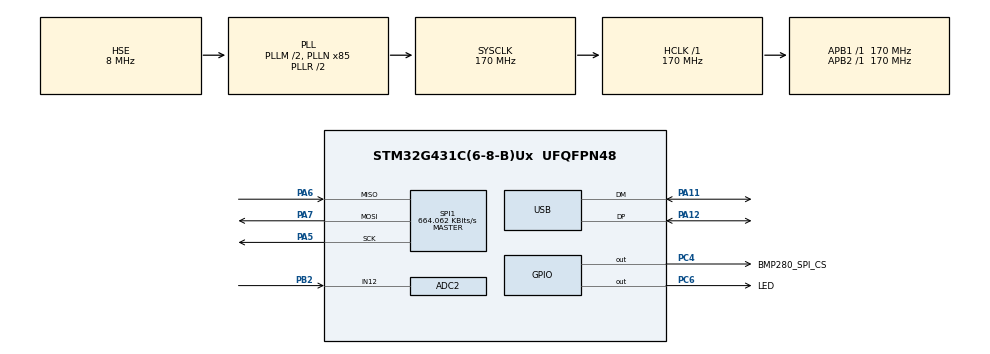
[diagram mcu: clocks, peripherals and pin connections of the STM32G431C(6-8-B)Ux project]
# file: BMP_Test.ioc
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ADC2.Channel-0\#ChannelRegularConversion=ADC_CHANNEL_12
ADC2.ContinuousConvMode=ENABLE
ADC2.DMAContinuousRequests=ENABLE
ADC2.NbrOfConversionFlag=1
ADC2.OffsetNumber-0\#ChannelRegularConversion=ADC_OFFSET_NONE
ADC2.Rank-0\#ChannelRegularConversion=1
ADC2.SamplingTime-0\#ChannelRegularConversion=ADC_SAMPLETIME_640CYCLES_5
Dma.ADC2.0.Direction=DMA_PERIPH_TO_MEMORY
Dma.ADC2.0.EventEnable=DISABLE
Dma.ADC2.0.Instance=DMA1_Channel1
Dma.ADC2.0.MemDataAlignment=DMA_MDATAALIGN_HALFWORD
Dma.ADC2.0.MemInc=DMA_MINC_ENABLE
Dma.ADC2.0.Mode=DMA_CIRCULAR
Dma.ADC2.0.PeriphDataAlignment=DMA_PDATAALIGN_HALFWORD
Dma.ADC2.0.PeriphInc=DMA_PINC_DISABLE
Dma.ADC2.0.Polarity=HAL_DMAMUX_REQ_GEN_RISING
Dma.ADC2.0.Priority=DMA_PRIORITY_LOW
Dma.ADC2.0.RequestNumber=1
Dma.ADC2.0.SignalID=NONE
Dma.ADC2.0.SyncEnable=DISABLE
Dma.ADC2.0.SyncPolarity=HAL_DMAMUX_SYNC_NO_EVENT
Dma.ADC2.0.SyncRequestNumber=1
Dma.ADC2.0.SyncSignalID=NONE
Dma.Request0=ADC2
FREERTOS.Tasks01=defaultTask,0,512,StartDefaultTask,Default,NULL,Dynamic,NULL,NULL
FREERTOS.configTOTAL_HEAP_SIZE=10240
Mcu.Family=STM32G4
Mcu.Name=STM32G431C(6-8-B)Ux
Mcu.Package=UFQFPN48
NVIC.DMA1_Channel1_IRQn=true\:5\:0\:false\:false\:true\:true\:false\:true\:true
NVIC.PriorityGroup=NVIC_PRIORITYGROUP_4
NVIC.TIM1_TRG_COM_TIM17_IRQn=true\:15\:0\:false\:false\:true\:false\:false\:true\:true
NVIC.TimeBase=TIM1_TRG_COM_TIM17_IRQn
NVIC.TimeBaseIP=TIM17
NVIC.USB_LP_IRQn=true\:5\:0\:false\:false\:true\:true\:false\:true\:true
PA11.Mode=Device
PA11.Signal=USB_DM
PA12.Mode=Device
PA12.Signal=USB_DP
PA13.Mode=Serial_Wire
PA13.Signal=SYS_JTMS-SWDIO
PA14.Mode=Serial_Wire
PA14.Signal=SYS_JTCK-SWCLK
PA5.Mode=Full_Duplex_Master
PA5.Signal=SPI1_SCK
PA6.Mode=Full_Duplex_Master
PA6.Signal=SPI1_MISO
PA7.Mode=Full_Duplex_Master
PA7.Signal=SPI1_MOSI
PB2.Mode=IN12-Single-Ended
PB2.Signal=ADC2_IN12
PC4.GPIO_Label=BMP280_SPI_CS
PC4.GPIO_ModeDefaultOutputPP=GPIO_MODE_OUTPUT_PP
PC4.GPIO_PuPd=GPIO_PULLUP
PC4.GPIO_Speed=GPIO_SPEED_FREQ_VERY_HIGH
PC4.PinState=GPIO_PIN_SET
PC4.Signal=GPIO_Output
PC6.GPIO_Label=LED
PC6.GPIO_PuPd=GPIO_PULLDOWN
PC6.GPIO_Speed=GPIO_SPEED_FREQ_LOW
PC6.PinState=GPIO_PIN_RESET
PC6.Signal=GPIO_Output
PF0-OSC_IN.Mode=HSE-External-Oscillator
PF0-OSC_IN.Signal=RCC_OSC_IN
PF1-OSC_OUT.Mode=HSE-External-Oscillator
PF1-OSC_OUT.Signal=RCC_OSC_OUT
ProjectManager.HeapSize=0x100
ProjectManager.StackSize=0xA00
ProjectManager.TargetToolchain=MDK-ARM V5.32
RCC.ADC12Freq_Value=170000000
RCC.AHBFreq_Value=170000000
RCC.APB1Freq_Value=170000000
RCC.APB1TimFreq_Value=170000000
RCC.APB2Freq_Value=170000000
RCC.APB2TimFreq_Value=170000000
RCC.CK48CLockSelection=RCC_USBCLKSOURCE_HSI48
RCC.CortexFreq_Value=170000000
RCC.EXTERNAL_CLOCK_VALUE=12288000
RCC.HCLKFreq_Value=170000000
RCC.HSE_VALUE=8000000
RCC.HSI48_VALUE=48000000
RCC.HSI_VALUE=16000000
RCC.LSE_VALUE=32768
RCC.PLLM=RCC_PLLM_DIV2
RCC.PLLN=85
RCC.PLLSourceVirtual=RCC_PLLSOURCE_HSE
RCC.SYSCLKFreq_VALUE=170000000
RCC.SYSCLKSource=RCC_SYSCLKSOURCE_PLLCLK
RCC.USBFreq_Value=48000000
RCC.VCOOutputFreq_Value=340000000
SPI1.BaudRatePrescaler=SPI_BAUDRATEPRESCALER_256
SPI1.CalculateBaudRate=664.062 KBits/s
SPI1.DataSize=SPI_DATASIZE_8BIT
SPI1.Direction=SPI_DIRECTION_2LINES
SPI1.Mode=SPI_MODE_MASTER
SPI1.VirtualType=VM_MASTER
USB_DEVICE.CLASS_NAME_FS=CDC
USB_DEVICE.VirtualMode=Cdc
USB_DEVICE.VirtualModeFS=Cdc_FS
VP_FREERTOS_VS_CMSIS_V1.Mode=CMSIS_V1
VP_SYS_VS_DBSignals.Mode=DisableDeadBatterySignals
VP_SYS_VS_tim17.Mode=TIM17
VP_USB_DEVICE_VS_USB_DEVICE_CDC_FS.Mode=CDC_FS
board=custom

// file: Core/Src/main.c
/* USER CODE BEGIN Header */
/**
  ******************************************************************************
  * @file           : main.c
  * @brief          : Main program body
  ******************************************************************************
  * @attention
  *
  * Copyright (c) 2025 STMicroelectronics.
  * All rights reserved.
  *
  * This software is licensed under terms that can be found in the LICENSE file
  * in the root directory of this software component.
  * If no LICENSE file comes with this software, it is provided AS-IS.
  *
  ******************************************************************************
  */
/* USER CODE END Header */
#include "main.h"
#include "cmsis_os.h"
#include "adc.h"
#include "dma.h"
#include "spi.h"
#include "usb_device.h"
#include "gpio.h"

void SystemClock_Config(void);
void MX_FREERTOS_Init(void);

int main(void)
{

  /* MCU Configuration--------------------------------------------------------*/

  /* Reset of all peripherals, Initializes the Flash interface and the Systick. */
  HAL_Init();

  /* Configure the system clock */
  SystemClock_Config();

  /* Initialize all configured peripherals */
  MX_GPIO_Init();
  MX_DMA_Init();
  MX_USB_Device_Init();
  MX_ADC2_Init();
  MX_SPI1_Init();

  /* Call init function for freertos objects (in freertos.c) */
  MX_FREERTOS_Init();

  /* Start scheduler */
  osKernelStart();

  /* We should never get here as control is now taken by the scheduler */
  /* Infinite loop */
  while (1)
  {

  }
}

void SystemClock_Config(void)
{
  RCC_OscInitTypeDef RCC_OscInitStruct = {0};
  RCC_ClkInitTypeDef RCC_ClkInitStruct = {0};

  /** Configure the main internal regulator output voltage
  */
  HAL_PWREx_ControlVoltageScaling(PWR_REGULATOR_VOLTAGE_SCALE1_BOOST);

  /** Initializes the RCC Oscillators according to the specified parameters
  * in the RCC_OscInitTypeDef structure.
  */
  RCC_OscInitStruct.OscillatorType = RCC_OSCILLATORTYPE_HSI48|RCC_OSCILLATORTYPE_HSE;
  RCC_OscInitStruct.HSEState = RCC_HSE_ON;
  RCC_OscInitStruct.HSI48State = RCC_HSI48_ON;
  RCC_OscInitStruct.PLL.PLLState = RCC_PLL_ON;
  RCC_OscInitStruct.PLL.PLLSource = RCC_PLLSOURCE_HSE;
  RCC_OscInitStruct.PLL.PLLM = RCC_PLLM_DIV2;
  RCC_OscInitStruct.PLL.PLLN = 85;
  RCC_OscInitStruct.PLL.PLLP = RCC_PLLP_DIV2;
  RCC_OscInitStruct.PLL.PLLQ = RCC_PLLQ_DIV2;
  RCC_OscInitStruct.PLL.PLLR = RCC_PLLR_DIV2;
  if (HAL_RCC_OscConfig(&RCC_OscInitStruct) != HAL_OK)
  {
    Error_Handler();
  }

  /** Initializes the CPU, AHB and APB buses clocks
  */
  RCC_ClkInitStruct.ClockType = RCC_CLOCKTYPE_HCLK|RCC_CLOCKTYPE_SYSCLK
                              |RCC_CLOCKTYPE_PCLK1|RCC_CLOCKTYPE_PCLK2;
  RCC_ClkInitStruct.SYSCLKSource = RCC_SYSCLKSOURCE_PLLCLK;
  RCC_ClkInitStruct.AHBCLKDivider = RCC_SYSCLK_DIV1;
  RCC_ClkInitStruct.APB1CLKDivider = RCC_HCLK_DIV1;
  RCC_ClkInitStruct.APB2CLKDivider = RCC_HCLK_DIV1;

  if (HAL_RCC_ClockConfig(&RCC_ClkInitStruct, FLASH_LATENCY_4) != HAL_OK)
  {
    Error_Handler();
  }
}

void HAL_TIM_PeriodElapsedCallback(TIM_HandleTypeDef *htim)
{
  if (htim->Instance == TIM17) {
    HAL_IncTick();
  }
}

void Error_Handler(void)
{
  __disable_irq();
  while (1)
  {
  }
}

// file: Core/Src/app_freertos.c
/* USER CODE BEGIN Header */
/**
  ******************************************************************************
  * File Name          : app_freertos.c
  * Description        : Code for freertos applications
  ******************************************************************************
  * @attention
  *
  * Copyright (c) 2025 STMicroelectronics.
  * All rights reserved.
  *
  * This software is licensed under terms that can be found in the LICENSE file
  * in the root directory of this software component.
  * If no LICENSE file comes with this software, it is provided AS-IS.
  *
  ******************************************************************************
  */
/* USER CODE END Header */

#include "FreeRTOS.h"
#include "task.h"
#include "main.h"
#include "cmsis_os.h"

osThreadId defaultTaskHandle;

void StartDefaultTask(void const * argument);

void MX_FREERTOS_Init(void); /* (MISRA C 2004 rule 8.1) */

void MX_FREERTOS_Init(void) {

  /* Create the thread(s) */
  /* definition and creation of defaultTask */
  osThreadDef(defaultTask, StartDefaultTask, osPriorityNormal, 0, 512);
  defaultTaskHandle = osThreadCreate(osThread(defaultTask), NULL);

}

/* USER CODE BEGIN Header_StartDefaultTask */
/**
  * @brief  Function implementing the defaultTask thread.
  * @param  argument: Not used
  * @retval None
  */
uint16_t adc_value[10];
BMP280_Device bmp_dev;
/* USER CODE END Header_StartDefaultTask */
void StartDefaultTask(void const * argument)
{
  /* USER CODE BEGIN StartDefaultTask */
	char usb_buff[1024]={0};
	HAL_ADC_Start_DMA(&hadc2, (uint32_t *)adc_value, 10);
	/* 初始化BMP280 */
    bmp_dev.hspi = &hspi1;
    bmp_dev.cs_port = BMP280_SPI_CS_GPIO_Port;
    bmp_dev.cs_pin = BMP280_SPI_CS_Pin;

	while(BMP280_Init(&bmp_dev) != HAL_OK)
	{
		sprintf(usb_buff,"初始化失败\r\n");
		CDC_Transmit_FS((uint8_t *)usb_buff,strlen(usb_buff));
		osDelay(500);
	}
  /* Infinite loop */
	for(;;)
	{
		HAL_GPIO_TogglePin(LED_GPIO_Port,LED_Pin);

		/* 读取压力和温度 */
        if (BMP280_ReadPressureTemperature(&bmp_dev) == HAL_OK) {
            sprintf(usb_buff,"温度: %.2f °C\r\n", bmp_dev.temperature);
            sprintf(usb_buff+strlen(usb_buff),"压力: %.2f kPa\r\n", bmp_dev.pressure);
            sprintf(usb_buff+strlen(usb_buff),"海拔: %.2f m\r\n", bmp_dev.altitude);
            sprintf(usb_buff+strlen(usb_buff),"------------------------\r\n");
        } else {
            sprintf(usb_buff,"读取数据失败\r\n");
        }

//		sprintf(usb_buff,"PB2 adc_value:%d\r\n",adc_value[0]);
//		sprintf(usb_buff,"BMP id:0x%X\r\n",bmp_dev.chip_id);
		CDC_Transmit_FS((uint8_t *)usb_buff,strlen(usb_buff));
		osDelay(500);
	}
  /* USER CODE END StartDefaultTask */
}
